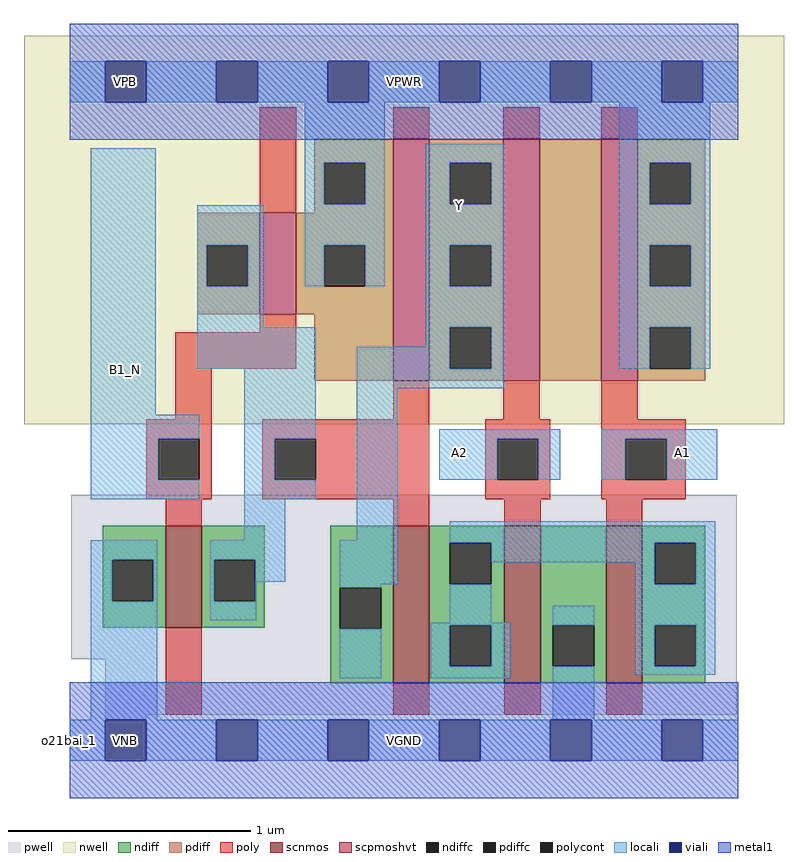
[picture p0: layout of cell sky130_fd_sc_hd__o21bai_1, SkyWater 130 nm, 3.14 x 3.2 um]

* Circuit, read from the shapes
.subckt sky130_fd_sc_hd__o21bai_1 A1 A2 B1_N VGND VNB VPB VPWR Y
XM1 n1 B1_N VGND VNB sky130_fd_pr__nfet_01v8 w=0.42 l=0.15
XM2 n2 n1 Y VNB sky130_fd_pr__nfet_01v8 w=0.65 l=0.15
XM3 VGND A2 n2 VNB sky130_fd_pr__nfet_01v8 w=0.65 l=0.15
XM4 n2 A1 VGND VNB sky130_fd_pr__nfet_01v8 w=0.65 l=0.15
XM5 VPWR B1_N n1 VPB sky130_fd_pr__pfet_01v8_hvt w=0.42 l=0.15
XM6 Y n1 VPWR VPB sky130_fd_pr__pfet_01v8_hvt w=1 l=0.15
XM7 n3 A2 Y VPB sky130_fd_pr__pfet_01v8_hvt w=1 l=0.15
XM8 VPWR A1 n3 VPB sky130_fd_pr__pfet_01v8_hvt w=1 l=0.15
.ends

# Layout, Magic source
magic
tech sky130B
magscale 1 2
<< nwell >>
rect -38 261 590 582
<< pwell >>
rect 1 67 551 203
rect 29 21 551 67
rect 29 -17 63 21
<< scnmos >>
rect 79 93 109 177
rect 267 47 297 177
rect 359 47 389 177
rect 443 47 473 177
<< scpmoshvt >>
rect 157 352 187 436
rect 267 297 297 497
rect 358 297 388 497
rect 439 297 469 497
<< ndiff >>
rect 27 149 79 177
rect 27 115 35 149
rect 69 115 79 149
rect 27 93 79 115
rect 109 149 161 177
rect 109 115 119 149
rect 153 115 161 149
rect 109 93 161 115
rect 215 126 267 177
rect 215 92 223 126
rect 257 92 267 126
rect 215 47 267 92
rect 297 163 359 177
rect 297 129 314 163
rect 348 129 359 163
rect 297 95 359 129
rect 297 61 314 95
rect 348 61 359 95
rect 297 47 359 61
rect 389 95 443 177
rect 389 61 399 95
rect 433 61 443 95
rect 389 47 443 61
rect 473 163 525 177
rect 473 129 483 163
rect 517 129 525 163
rect 473 95 525 129
rect 473 61 483 95
rect 517 61 525 95
rect 473 47 525 61
<< pdiff >>
rect 202 477 267 497
rect 202 443 210 477
rect 244 443 267 477
rect 202 436 267 443
rect 105 409 157 436
rect 105 375 113 409
rect 147 375 157 409
rect 105 352 157 375
rect 187 409 267 436
rect 187 375 210 409
rect 244 375 267 409
rect 187 352 267 375
rect 202 297 267 352
rect 297 477 358 497
rect 297 443 314 477
rect 348 443 358 477
rect 297 409 358 443
rect 297 375 314 409
rect 348 375 358 409
rect 297 341 358 375
rect 297 307 314 341
rect 348 307 358 341
rect 297 297 358 307
rect 388 297 439 497
rect 469 477 525 497
rect 469 443 479 477
rect 513 443 525 477
rect 469 409 525 443
rect 469 375 479 409
rect 513 375 525 409
rect 469 341 525 375
rect 469 307 479 341
rect 513 307 525 341
rect 469 297 525 307
<< ndiffc >>
rect 35 115 69 149
rect 119 115 153 149
rect 223 92 257 126
rect 314 129 348 163
rect 314 61 348 95
rect 399 61 433 95
rect 483 129 517 163
rect 483 61 517 95
<< pdiffc >>
rect 210 443 244 477
rect 113 375 147 409
rect 210 375 244 409
rect 314 443 348 477
rect 314 375 348 409
rect 314 307 348 341
rect 479 443 513 477
rect 479 375 513 409
rect 479 307 513 341
<< poly >>
rect 157 436 187 523
rect 267 497 297 523
rect 358 497 388 523
rect 439 497 469 523
rect 157 337 187 352
rect 87 307 187 337
rect 87 265 117 307
rect 267 265 297 297
rect 358 265 388 297
rect 439 265 469 297
rect 63 249 117 265
rect 63 215 73 249
rect 107 215 117 249
rect 63 199 117 215
rect 159 249 297 265
rect 159 215 169 249
rect 203 215 297 249
rect 159 199 297 215
rect 343 249 397 265
rect 343 215 353 249
rect 387 215 397 249
rect 343 199 397 215
rect 439 249 509 265
rect 439 215 459 249
rect 493 215 509 249
rect 439 199 509 215
rect 79 177 109 199
rect 267 177 297 199
rect 359 177 389 199
rect 443 177 473 199
rect 79 21 109 93
rect 267 21 297 47
rect 359 21 389 47
rect 443 21 473 47
<< polycont >>
rect 73 215 107 249
rect 169 215 203 249
rect 353 215 387 249
rect 459 215 493 249
<< locali >>
rect 0 527 29 561
rect 63 527 121 561
rect 155 527 213 561
rect 247 527 305 561
rect 339 527 397 561
rect 431 527 489 561
rect 523 527 552 561
rect 17 269 71 489
rect 194 477 260 527
rect 194 443 210 477
rect 244 443 260 477
rect 105 409 160 442
rect 105 375 113 409
rect 147 375 160 409
rect 194 409 260 443
rect 194 375 210 409
rect 244 375 260 409
rect 294 477 359 493
rect 294 443 314 477
rect 348 443 359 477
rect 294 409 359 443
rect 294 375 314 409
rect 348 375 359 409
rect 105 341 160 375
rect 294 341 359 375
rect 105 307 203 341
rect 294 325 314 341
rect 17 249 107 269
rect 17 215 73 249
rect 17 199 107 215
rect 144 249 203 307
rect 144 215 169 249
rect 144 199 203 215
rect 237 307 314 325
rect 348 307 359 341
rect 454 477 529 527
rect 454 443 479 477
rect 513 443 529 477
rect 454 409 529 443
rect 454 375 479 409
rect 513 375 529 409
rect 454 341 529 375
rect 454 307 479 341
rect 513 307 529 341
rect 237 291 359 307
rect 144 165 178 199
rect 237 165 271 291
rect 305 249 405 257
rect 305 215 353 249
rect 387 215 405 249
rect 439 249 535 257
rect 439 215 459 249
rect 493 215 535 249
rect 17 149 72 165
rect 17 115 35 149
rect 69 115 72 149
rect 17 17 72 115
rect 116 149 178 165
rect 116 115 119 149
rect 153 131 178 149
rect 153 115 154 131
rect 116 99 154 115
rect 223 129 271 165
rect 314 163 533 181
rect 348 147 483 163
rect 223 126 257 129
rect 314 97 348 129
rect 467 129 483 147
rect 517 129 533 163
rect 223 51 257 92
rect 298 95 364 97
rect 298 61 314 95
rect 348 61 364 95
rect 298 51 364 61
rect 399 95 433 111
rect 399 17 433 61
rect 467 95 533 129
rect 467 61 483 95
rect 517 61 533 95
rect 467 54 533 61
rect 0 -17 29 17
rect 63 -17 121 17
rect 155 -17 213 17
rect 247 -17 305 17
rect 339 -17 397 17
rect 431 -17 489 17
rect 523 -17 552 17
<< viali >>
rect 29 527 63 561
rect 121 527 155 561
rect 213 527 247 561
rect 305 527 339 561
rect 397 527 431 561
rect 489 527 523 561
rect 29 -17 63 17
rect 121 -17 155 17
rect 213 -17 247 17
rect 305 -17 339 17
rect 397 -17 431 17
rect 489 -17 523 17
<< metal1 >>
rect 0 561 552 592
rect 0 527 29 561
rect 63 527 121 561
rect 155 527 213 561
rect 247 527 305 561
rect 339 527 397 561
rect 431 527 489 561
rect 523 527 552 561
rect 0 496 552 527
rect 0 17 552 48
rect 0 -17 29 17
rect 63 -17 121 17
rect 155 -17 213 17
rect 247 -17 305 17
rect 339 -17 397 17
rect 431 -17 489 17
rect 523 -17 552 17
rect 0 -48 552 -17
<< labels >>
flabel locali s 489 221 523 255 0 FreeSans 400 0 0 0 A1
port 1 nsew signal input
flabel locali s 305 425 339 459 0 FreeSans 400 0 0 0 Y
port 8 nsew signal output
flabel locali s 29 289 63 323 0 FreeSans 400 0 0 0 B1_N
port 3 nsew signal input
flabel locali s 305 221 339 255 0 FreeSans 400 0 0 0 A2
port 2 nsew signal input
flabel nwell s 29 527 63 561 0 FreeSans 200 0 0 0 VPB
port 6 nsew power bidirectional
flabel pwell s 29 -17 63 17 0 FreeSans 200 0 0 0 VNB
port 5 nsew ground bidirectional
flabel metal1 s 29 527 63 561 0 FreeSans 200 0 0 0 VPWR
port 7 nsew power bidirectional abutment
flabel metal1 s 29 -17 63 17 0 FreeSans 200 0 0 0 VGND
port 4 nsew ground bidirectional abutment
rlabel comment s 0 0 0 0 4 o21bai_1
rlabel metal1 s 0 -48 552 48 1 VGND
port 4 nsew ground bidirectional abutment
rlabel metal1 s 0 496 552 592 1 VPWR
port 7 nsew power bidirectional abutment
<< properties >>
string FIXED_BBOX 0 0 552 544
string GDS_END 1328104
string GDS_FILE $PDKPATH/libs.ref/sky130_fd_sc_hd/gds/sky130_fd_sc_hd.gds
string GDS_START 1322592
string LEFclass CORE
string LEFsite unithd
string LEFsymmetry X Y R90
string path 0.000 0.000 2.760 0.000 
<< end >>
